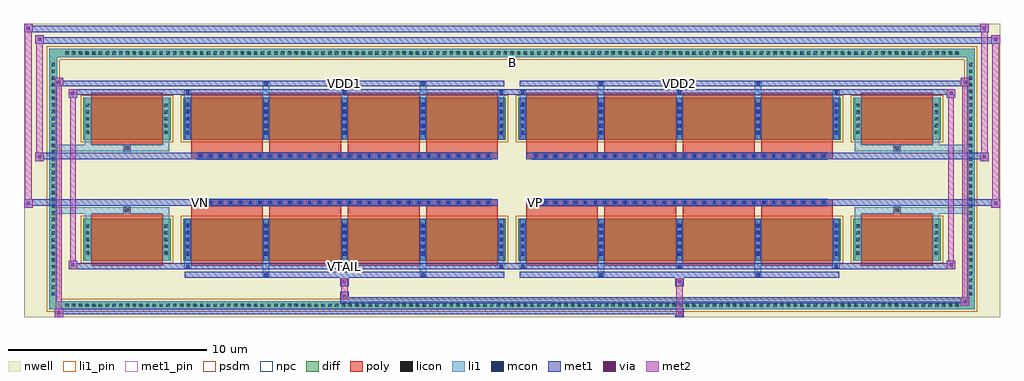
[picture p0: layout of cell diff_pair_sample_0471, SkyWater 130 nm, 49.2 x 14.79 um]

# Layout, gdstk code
import gdstk
lib = gdstk.Library(unit=1e-6, precision=5e-09)
def R(c, l, rs):  # rectangles x0, y0, x1, y1
    for r in rs: c.add(gdstk.rectangle(r[:2], r[2:], *l))
def A(c, l, x, y, w, h, nx, ny, dx, dy):  # array of equal rectangles
    R(c, l, [(x+i*dx, y+j*dy, x+i*dx+w, y+j*dy+h) for i in range(nx) for j in range(ny)])
def P(c, l, *ps):  # polygons
    for p in ps: c.add(gdstk.Polygon(p, *l))
nwell = (64, 20)
diff = (65, 20)
poly = (66, 20)
licon = (66, 44)
li1_pin = (67, 16)
li1 = (67, 20)
mcon = (67, 44)
met1_pin = (68, 16)
met1 = (68, 20)
via = (68, 44)
met2 = (69, 20)
psdm = (94, 20)
npc = (95, 20)

diff_pair_sample_0471 = lib.new_cell('diff_pair_sample_0471')
R(diff_pair_sample_0471, nwell, [(-24.6,-6.96,24.6,7.83), (-21.92,-5.15,-0.01,-0.805), (0.01,-5.15,21.92,-0.805), (-21.92,0.805,-0.01,5.15), (0.01,0.805,21.92,5.15)])
A(diff_pair_sample_0471, diff, -22.645, -6.56, 0.41, 0.41, 133, 2, 0.34, 12.71)
A(diff_pair_sample_0471, diff, -23.33, -5.985, 0.41, 0.41, 1, 35, 0, 0.34)
A(diff_pair_sample_0471, diff, 22.92, -5.985, 0.41, 0.41, 1, 35, 0, 0.34)
R(diff_pair_sample_0471, diff, [(-22.645,-6.56,22.645,-6.15), (-23.33,-5.985,-22.92,5.985), (22.92,-5.985,23.33,5.985), (-21.61,-4.105,-17.21,-1.985), (-16.57,-4.105,-0.32,-1.985), (0.32,-4.105,16.57,-1.985), (17.21,-4.105,21.61,-1.985), (-21.61,1.985,-17.21,4.105), (-16.57,1.985,-0.32,4.105), (0.32,1.985,16.57,4.105), (17.21,1.985,21.61,4.105), (-22.645,6.15,22.645,6.56)])
P(diff_pair_sample_0471, diff, [(23.33,6.56),(-23.33,6.56),(-23.33,-6.15),(-22.92,-6.15),(-22.92,6.15),(22.92,6.15),(22.92,-6.15),(-22.92,-6.15),(-23.33,-6.15),(-23.33,-6.56),(23.33,-6.56)])
A(diff_pair_sample_0471, poly, -16.18, -4.355, 3.62, 2.62, 4, 2, 3.95, 6.09)
A(diff_pair_sample_0471, poly, 0.71, -4.355, 3.62, 2.62, 4, 2, 3.95, 6.09)
A(diff_pair_sample_0471, poly, -16.18, -1.735, 3.62, 0.4, 4, 2, 3.95, 3.07)
A(diff_pair_sample_0471, poly, 0.71, -1.735, 3.62, 0.4, 4, 2, 3.95, 3.07)
A(diff_pair_sample_0471, poly, -15.86, -1.335, 0.33, 0.33, 30, 2, 0.5, 2.34)
A(diff_pair_sample_0471, poly, 1.03, -1.335, 0.33, 0.33, 30, 2, 0.5, 2.34)
R(diff_pair_sample_0471, poly, [(-21.22,-4.355,-17.6,-1.735), (17.6,-4.355,21.22,-1.735), (-19.575,-1.735,-19.245,-1.405), (-19.575,-1.735,-19.245,-1.405), (19.245,-1.735,19.575,-1.405), (19.245,-1.735,19.575,-1.405), (-16.18,-1.335,-0.71,-1.005), (0.71,-1.335,16.18,-1.005), (-16.18,1.005,-0.71,1.335), (0.71,1.005,16.18,1.335), (-19.575,1.405,-19.245,1.735), (-19.575,1.405,-19.245,1.735), (19.245,1.405,19.575,1.735), (19.245,1.405,19.575,1.735), (-21.22,1.735,-17.6,4.355), (17.6,1.735,21.22,4.355)])
A(diff_pair_sample_0471, licon, -22.525, -6.44, 0.17, 0.17, 133, 2, 0.34, 12.71)
A(diff_pair_sample_0471, licon, -23.21, -5.865, 0.17, 0.17, 1, 35, 0, 0.34)
A(diff_pair_sample_0471, licon, 23.04, -5.865, 0.17, 0.17, 1, 35, 0, 0.34)
A(diff_pair_sample_0471, licon, -21.47, -3.81, 0.17, 0.17, 1, 5, 0, 0.34)
A(diff_pair_sample_0471, licon, -17.52, -3.81, 0.17, 0.17, 1, 5, 0, 0.34)
A(diff_pair_sample_0471, licon, -16.43, -3.81, 0.17, 0.17, 5, 5, 3.95, 0.34)
A(diff_pair_sample_0471, licon, 0.46, -3.81, 0.17, 0.17, 5, 5, 3.95, 0.34)
A(diff_pair_sample_0471, licon, 17.35, -3.81, 0.17, 0.17, 1, 5, 0, 0.34)
A(diff_pair_sample_0471, licon, 21.3, -3.81, 0.17, 0.17, 1, 5, 0, 0.34)
A(diff_pair_sample_0471, licon, -15.78, -1.255, 0.17, 0.17, 30, 2, 0.5, 2.34)
A(diff_pair_sample_0471, licon, 1.11, -1.255, 0.17, 0.17, 30, 2, 0.5, 2.34)
A(diff_pair_sample_0471, licon, -21.47, 2.28, 0.17, 0.17, 1, 5, 0, 0.34)
A(diff_pair_sample_0471, licon, -17.52, 2.28, 0.17, 0.17, 1, 5, 0, 0.34)
A(diff_pair_sample_0471, licon, -16.43, 2.28, 0.17, 0.17, 5, 5, 3.95, 0.34)
A(diff_pair_sample_0471, licon, 0.46, 2.28, 0.17, 0.17, 5, 5, 3.95, 0.34)
A(diff_pair_sample_0471, licon, 17.35, 2.28, 0.17, 0.17, 1, 5, 0, 0.34)
A(diff_pair_sample_0471, licon, 21.3, 2.28, 0.17, 0.17, 1, 5, 0, 0.34)
R(diff_pair_sample_0471, licon, [(-19.495,-1.655,-19.325,-1.485), (19.325,-1.655,19.495,-1.485), (-19.495,1.485,-19.325,1.655), (19.325,1.485,19.495,1.655)])
R(diff_pair_sample_0471, li1_pin, [(-0.25,5.65,0.25,6.15)])
A(diff_pair_sample_0471, li1, -22.605, -6.52, 0.33, 0.33, 133, 2, 0.34, 12.71)
A(diff_pair_sample_0471, li1, -23.29, -5.945, 0.33, 0.33, 1, 35, 0, 0.34)
A(diff_pair_sample_0471, li1, 22.96, -5.945, 0.33, 0.33, 1, 35, 0, 0.34)
A(diff_pair_sample_0471, li1, -16.51, -4.48, 0.33, 0.375, 3, 2, 7.9, 8.585)
A(diff_pair_sample_0471, li1, -16.43, -4.48, 0.17, 0.17, 3, 2, 7.9, 8.79)
A(diff_pair_sample_0471, li1, 0.38, -4.48, 0.33, 0.375, 3, 2, 7.9, 8.585)
A(diff_pair_sample_0471, li1, 0.46, -4.48, 0.17, 0.17, 3, 2, 7.9, 8.79)
A(diff_pair_sample_0471, li1, -16.51, -4.105, 0.33, 2.12, 5, 2, 3.95, 6.09)
A(diff_pair_sample_0471, li1, 0.38, -4.105, 0.33, 2.12, 5, 2, 3.95, 6.09)
A(diff_pair_sample_0471, li1, -21.55, -3.89, 0.33, 0.33, 1, 5, 0, 0.34)
A(diff_pair_sample_0471, li1, -17.6, -3.89, 0.33, 0.33, 1, 5, 0, 0.34)
A(diff_pair_sample_0471, li1, -16.51, -3.89, 0.33, 0.33, 5, 5, 3.95, 0.34)
A(diff_pair_sample_0471, li1, 0.38, -3.89, 0.33, 0.33, 5, 5, 3.95, 0.34)
A(diff_pair_sample_0471, li1, 17.27, -3.89, 0.33, 0.33, 1, 5, 0, 0.34)
A(diff_pair_sample_0471, li1, 21.22, -3.89, 0.33, 0.33, 1, 5, 0, 0.34)
A(diff_pair_sample_0471, li1, -16.43, -3.85, 0.17, 0.17, 5, 5, 3.95, 0.36)
A(diff_pair_sample_0471, li1, -16.43, -3.85, 0.17, 1.61, 5, 2, 3.95, 6.09)
A(diff_pair_sample_0471, li1, 0.46, -3.85, 0.17, 0.17, 5, 5, 3.95, 0.36)
A(diff_pair_sample_0471, li1, 0.46, -3.85, 0.17, 1.61, 5, 2, 3.95, 6.09)
A(diff_pair_sample_0471, li1, -15.86, -1.335, 0.33, 0.33, 30, 2, 0.5, 2.34)
A(diff_pair_sample_0471, li1, 1.03, -1.335, 0.33, 0.33, 30, 2, 0.5, 2.34)
A(diff_pair_sample_0471, li1, -21.55, 2.2, 0.33, 0.33, 1, 5, 0, 0.34)
A(diff_pair_sample_0471, li1, -17.6, 2.2, 0.33, 0.33, 1, 5, 0, 0.34)
A(diff_pair_sample_0471, li1, -16.51, 2.2, 0.33, 0.33, 5, 5, 3.95, 0.34)
A(diff_pair_sample_0471, li1, 0.38, 2.2, 0.33, 0.33, 5, 5, 3.95, 0.34)
A(diff_pair_sample_0471, li1, 17.27, 2.2, 0.33, 0.33, 1, 5, 0, 0.34)
A(diff_pair_sample_0471, li1, 21.22, 2.2, 0.33, 0.33, 1, 5, 0, 0.34)
A(diff_pair_sample_0471, li1, -16.43, 2.24, 0.17, 0.17, 5, 5, 3.95, 0.36)
A(diff_pair_sample_0471, li1, 0.46, 2.24, 0.17, 0.17, 5, 5, 3.95, 0.36)
R(diff_pair_sample_0471, li1, [(-23.33,-6.56,-22.92,-6.15), (-23.33,-6.56,-22.92,-6.15), (-22.92,-6.56,22.92,-6.15), (22.92,-6.56,23.33,-6.15), (22.92,-6.56,23.33,-6.15), (-23.33,-6.15,-22.92,6.15), (22.92,-6.15,23.33,6.15), (-12.56,-4.91,-12.23,-4.105), (-12.48,-4.91,-12.31,-4.74), (-4.66,-4.91,-4.33,-4.105), (-4.58,-4.91,-4.41,-4.74), (4.33,-4.91,4.66,-4.105), (4.41,-4.91,4.58,-4.74), (12.23,-4.91,12.56,-4.105), (12.31,-4.91,12.48,-4.74), (-21.55,-4.105,-21.22,-1.985), (-17.6,-4.105,-17.27,-1.985), (17.27,-4.105,17.6,-1.985), (21.22,-4.105,21.55,-1.985), (-21.55,-1.985,-21.22,-1.405), (-17.6,-1.985,-17.27,-1.405), (17.27,-1.985,17.6,-1.405), (21.22,-1.985,21.55,-1.405), (-23.33,-1.735,-19.575,-1.405), (-21.55,-1.735,-19.575,-1.405), (-19.575,-1.735,-19.245,-1.405), (-19.245,-1.735,-17.27,-1.405), (17.27,-1.735,19.245,-1.405), (19.245,-1.735,19.575,-1.405), (19.245,-1.735,23.33,-1.405), (19.575,-1.735,21.55,-1.405), (-23.33,1.405,-19.575,1.735), (-21.55,1.405,-19.575,1.735), (-21.55,1.405,-21.22,1.985), (-19.575,1.405,-19.245,1.735), (-19.245,1.405,-17.27,1.735), (-17.6,1.405,-17.27,1.985), (17.27,1.405,19.245,1.735), (17.27,1.405,17.6,1.985), (19.245,1.405,19.575,1.735), (19.245,1.405,23.33,1.735), (19.575,1.405,21.55,1.735), (21.22,1.405,21.55,1.985), (-21.55,1.985,-21.22,4.105), (-17.6,1.985,-17.27,4.105), (17.27,1.985,17.6,4.105), (21.22,1.985,21.55,4.105), (-12.56,4.105,-12.23,4.91), (-4.66,4.105,-4.33,4.91), (4.33,4.105,4.66,4.91), (12.23,4.105,12.56,4.91), (-12.48,4.74,-12.31,4.91), (-4.58,4.74,-4.41,4.91), (4.41,4.74,4.58,4.91), (12.31,4.74,12.48,4.91), (-23.33,6.15,-22.92,6.56), (-23.33,6.15,-22.92,6.56), (-22.92,6.15,22.92,6.56), (22.92,6.15,23.33,6.56), (22.92,6.15,23.33,6.56)])
A(diff_pair_sample_0471, mcon, -16.43, -4.48, 0.17, 0.17, 3, 2, 7.9, 8.79)
A(diff_pair_sample_0471, mcon, 0.46, -4.48, 0.17, 0.17, 3, 2, 7.9, 8.79)
A(diff_pair_sample_0471, mcon, -16.43, -3.85, 0.17, 0.17, 5, 5, 3.95, 0.36)
A(diff_pair_sample_0471, mcon, 0.46, -3.85, 0.17, 0.17, 5, 5, 3.95, 0.36)
A(diff_pair_sample_0471, mcon, -15.78, -1.255, 0.17, 0.17, 30, 2, 0.5, 2.34)
A(diff_pair_sample_0471, mcon, 1.11, -1.255, 0.17, 0.17, 30, 2, 0.5, 2.34)
A(diff_pair_sample_0471, mcon, -16.43, 2.24, 0.17, 0.17, 5, 5, 3.95, 0.36)
A(diff_pair_sample_0471, mcon, 0.46, 2.24, 0.17, 0.17, 5, 5, 3.95, 0.36)
R(diff_pair_sample_0471, mcon, [(-12.48,-4.91,-12.31,-4.74), (-4.58,-4.91,-4.41,-4.74), (4.41,-4.91,4.58,-4.74), (12.31,-4.91,12.48,-4.74), (-12.48,4.74,-12.31,4.91), (-4.58,4.74,-4.41,4.91), (4.41,4.74,4.58,4.91), (12.31,4.74,12.48,4.91)])
R(diff_pair_sample_0471, met1_pin, [(-8.58,-4.52,-8.31,-4.25), (-15.83,-1.295,-15.56,-1.025), (1.06,-1.295,1.33,-1.025), (-8.58,4.7,-8.31,4.97), (8.31,4.7,8.58,4.97)])
A(diff_pair_sample_0471, met1, -16.49, -4.54, 0.29, 0.29, 3, 2, 7.9, 8.79)
A(diff_pair_sample_0471, met1, 0.4, -4.54, 0.29, 0.29, 3, 2, 7.9, 8.79)
A(diff_pair_sample_0471, met1, -16.49, -4.105, 0.29, 2.12, 5, 2, 3.95, 6.09)
A(diff_pair_sample_0471, met1, 0.4, -4.105, 0.29, 2.12, 5, 2, 3.95, 6.09)
A(diff_pair_sample_0471, met1, -16.49, -3.91, 0.29, 0.29, 5, 5, 3.95, 0.36)
A(diff_pair_sample_0471, met1, 0.4, -3.91, 0.29, 0.29, 5, 5, 3.95, 0.36)
A(diff_pair_sample_0471, met1, -15.84, -1.315, 0.29, 0.29, 30, 2, 0.5, 2.34)
A(diff_pair_sample_0471, met1, 1.05, -1.315, 0.29, 0.29, 30, 2, 0.5, 2.34)
A(diff_pair_sample_0471, met1, -16.49, 2.18, 0.29, 0.29, 5, 5, 3.95, 0.36)
A(diff_pair_sample_0471, met1, 0.4, 2.18, 0.29, 0.29, 5, 5, 3.95, 0.36)
R(diff_pair_sample_0471, met1, [(-23.06,-6.96,-22.63,-6.53), (8.23,-6.96,8.66,-6.53), (-23.06,-6.82,8.66,-6.53), (22.63,-6.39,23.06,-5.96), (-8.66,-6.25,23.06,-5.96), (-8.66,-6.11,-8.23,-5.68), (-8.66,-5.4,-8.23,-4.97), (8.23,-5.4,8.66,-4.97), (-16.49,-4.97,-0.4,-4.68), (-12.54,-4.97,-12.25,-4.68), (-4.64,-4.97,-4.35,-4.68), (0.4,-4.97,16.49,-4.68), (4.35,-4.97,4.64,-4.68), (12.25,-4.97,12.54,-4.68), (-22.35,-4.54,-21.92,-4.11), (-22.35,-4.54,-16.49,-4.25), (-16.49,-4.54,-0.4,-4.25), (-0.4,-4.54,0.4,-4.25), (0.4,-4.54,16.49,-4.25), (16.49,-4.54,22.35,-4.25), (21.92,-4.54,22.35,-4.11), (-24.6,-1.435,-24.17,-1.005), (24.17,-1.435,24.6,-1.005), (-24.6,-1.335,-0.71,-1.005), (-16.18,-1.335,-0.71,-1.005), (0.71,-1.335,16.18,-1.005), (0.71,-1.335,24.6,-1.005), (-24.03,0.905,-23.6,1.335), (23.6,0.905,24.03,1.335), (-24.03,1.005,-16.18,1.335), (-16.18,1.005,-0.71,1.335), (0.71,1.005,16.18,1.335), (16.18,1.005,24.03,1.335), (-22.35,4.11,-21.92,4.54), (21.92,4.11,22.35,4.54), (-22.35,4.25,-16.49,4.54), (-16.49,4.25,-0.4,4.54), (-0.4,4.25,0.4,4.54), (0.4,4.25,16.49,4.54), (16.49,4.25,22.35,4.54), (-23.06,4.68,-22.63,5.11), (-23.06,4.68,-16.49,4.97), (-16.49,4.68,-0.4,4.97), (-12.54,4.68,-12.25,4.97), (-4.64,4.68,-4.35,4.97), (0.4,4.68,16.49,4.97), (4.35,4.68,4.64,4.97), (12.25,4.68,12.54,4.97), (16.49,4.68,23.06,4.97), (22.63,4.68,23.06,5.11), (-24.03,6.83,-23.6,7.26), (-24.03,6.83,-21.92,7.16), (-21.92,6.83,21.92,7.16), (21.92,6.83,24.6,7.16), (24.17,6.83,24.6,7.26), (-24.6,7.4,-24.17,7.83), (-24.6,7.4,-21.92,7.73), (-21.92,7.4,21.92,7.73), (21.92,7.4,24.03,7.73), (23.6,7.4,24.03,7.83)])
R(diff_pair_sample_0471, via, [(-22.92,-6.82,-22.77,-6.67), (8.37,-6.82,8.52,-6.67), (22.77,-6.25,22.92,-6.1), (-8.52,-5.97,-8.37,-5.82), (-8.52,-5.26,-8.37,-5.11), (8.37,-5.26,8.52,-5.11), (-22.21,-4.4,-22.06,-4.25), (22.06,-4.4,22.21,-4.25), (-24.46,-1.295,-24.31,-1.145), (24.31,-1.295,24.46,-1.145), (-23.89,1.045,-23.74,1.195), (23.74,1.045,23.89,1.195), (-22.21,4.25,-22.06,4.4), (22.06,4.25,22.21,4.4), (-22.92,4.82,-22.77,4.97), (22.77,4.82,22.92,4.97), (-23.89,6.97,-23.74,7.12), (24.31,6.97,24.46,7.12), (-24.46,7.54,-24.31,7.69), (23.74,7.54,23.89,7.69)])
R(diff_pair_sample_0471, met2, [(-23.06,-6.96,-22.63,-6.53), (-22.99,-6.96,-22.7,5.11), (-22.7,-6.96,-22.63,-6.53), (-23.01,-6.91,-22.68,-6.58), (8.28,-6.91,8.61,-6.58), (8.28,-6.58,8.61,-5.35), (22.63,-6.39,23.06,-5.96), (22.7,-6.39,22.99,5.11), (22.99,-6.39,23.06,-5.96), (22.68,-6.34,23.01,-6.01), (-8.61,-6.06,-8.28,-5.73), (-8.61,-5.73,-8.28,-5.35), (-8.61,-5.35,-8.28,-5.02), (8.28,-5.35,8.61,-5.02), (-22.35,-4.54,-21.92,-4.11), (-22.28,-4.54,-21.99,4.54), (-21.99,-4.54,-21.92,-4.11), (21.92,-4.54,22.35,-4.11), (21.99,-4.54,22.28,4.54), (22.28,-4.54,22.35,-4.11), (-22.3,-4.49,-21.97,-4.16), (21.97,-4.49,22.3,-4.16), (-24.6,-1.435,-24.17,-1.005), (-24.55,-1.435,-24.22,7.83), (-24.22,-1.435,-24.17,-1.005), (24.17,-1.435,24.6,-1.005), (24.22,-1.435,24.55,7.26), (24.55,-1.435,24.6,-1.005), (-24.55,-1.385,-24.22,-1.055), (24.22,-1.385,24.55,-1.055), (-24.03,0.905,-23.6,1.335), (-23.98,0.905,-23.65,7.26), (-23.65,0.905,-23.6,1.335), (23.6,0.905,24.03,1.335), (23.65,0.905,23.98,7.83), (23.98,0.905,24.03,1.335), (-23.98,0.955,-23.65,1.285), (23.65,0.955,23.98,1.285), (-22.35,4.11,-21.92,4.54), (-21.99,4.11,-21.92,4.54), (21.92,4.11,22.35,4.54), (22.28,4.11,22.35,4.54), (-22.3,4.16,-21.97,4.49), (21.97,4.16,22.3,4.49), (-23.06,4.68,-22.63,5.11), (-22.7,4.68,-22.63,5.11), (22.63,4.68,23.06,5.11), (22.99,4.68,23.06,5.11), (-23.01,4.73,-22.68,5.06), (22.68,4.73,23.01,5.06), (-24.03,6.83,-23.6,7.26), (-23.65,6.83,-23.6,7.26), (24.17,6.83,24.6,7.26), (24.55,6.83,24.6,7.26), (-23.98,6.88,-23.65,7.21), (24.22,6.88,24.55,7.21), (-24.6,7.4,-24.17,7.83), (-24.22,7.4,-24.17,7.83), (23.6,7.4,24.03,7.83), (23.98,7.4,24.03,7.83), (-24.55,7.45,-24.22,7.78), (23.65,7.45,23.98,7.78)])
R(diff_pair_sample_0471, psdm, [(-21.74,-4.235,-17.08,-1.855), (-16.7,-4.235,-0.19,-1.855), (0.19,-4.235,16.7,-1.855), (17.08,-4.235,21.74,-1.855), (-21.74,1.855,-17.08,4.235), (-16.7,1.855,-0.19,4.235), (0.19,1.855,16.7,4.235), (17.08,1.855,21.74,4.235)])
P(diff_pair_sample_0471, psdm, [(23.46,6.69),(-23.46,6.69),(-23.46,-6.02),(-22.79,-6.02),(-22.79,6.02),(22.79,6.02),(22.79,-6.02),(-22.79,-6.02),(-23.46,-6.02),(-23.46,-6.69),(23.46,-6.69)])
A(diff_pair_sample_0471, npc, -15.88, -1.355, 0.37, 0.37, 30, 2, 0.5, 2.34)
A(diff_pair_sample_0471, npc, 1.01, -1.355, 0.37, 0.37, 30, 2, 0.5, 2.34)
R(diff_pair_sample_0471, npc, [(-19.595,-1.755,-19.225,-1.385), (19.225,-1.755,19.595,-1.385), (-15.88,-1.355,-15.01,-0.985), (-15.88,-1.355,-15.01,-0.985), (-15.38,-1.355,-14.51,-0.985), (-15.38,-1.355,-14.51,-0.985), (-14.88,-1.355,-14.01,-0.985), (-14.88,-1.355,-14.01,-0.985), (-14.38,-1.355,-13.51,-0.985), (-14.38,-1.355,-13.51,-0.985), (-13.88,-1.355,-13.01,-0.985), (-13.88,-1.355,-13.01,-0.985), (-13.38,-1.355,-12.51,-0.985), (-13.38,-1.355,-12.51,-0.985), (-12.88,-1.355,-12.01,-0.985), (-12.88,-1.355,-12.01,-0.985), (-12.38,-1.355,-11.51,-0.985), (-12.38,-1.355,-11.51,-0.985), (-11.88,-1.355,-11.01,-0.985), (-11.88,-1.355,-11.01,-0.985), (-11.38,-1.355,-10.51,-0.985), (-11.38,-1.355,-10.51,-0.985), (-10.88,-1.355,-10.01,-0.985), (-10.88,-1.355,-10.01,-0.985), (-10.38,-1.355,-9.51,-0.985), (-10.38,-1.355,-9.51,-0.985), (-9.88,-1.355,-9.01,-0.985), (-9.88,-1.355,-9.01,-0.985), (-9.38,-1.355,-8.51,-0.985), (-9.38,-1.355,-8.51,-0.985), (-8.88,-1.355,-8.01,-0.985), (-8.88,-1.355,-8.01,-0.985), (-8.38,-1.355,-7.51,-0.985), (-8.38,-1.355,-7.51,-0.985), (-7.88,-1.355,-7.01,-0.985), (-7.88,-1.355,-7.01,-0.985), (-7.38,-1.355,-6.51,-0.985), (-7.38,-1.355,-6.51,-0.985), (-6.88,-1.355,-6.01,-0.985), (-6.88,-1.355,-6.01,-0.985), (-6.38,-1.355,-5.51,-0.985), (-6.38,-1.355,-5.51,-0.985), (-5.88,-1.355,-5.01,-0.985), (-5.88,-1.355,-5.01,-0.985), (-5.38,-1.355,-4.51,-0.985), (-5.38,-1.355,-4.51,-0.985), (-4.88,-1.355,-4.01,-0.985), (-4.88,-1.355,-4.01,-0.985), (-4.38,-1.355,-3.51,-0.985), (-4.38,-1.355,-3.51,-0.985), (-3.88,-1.355,-3.01,-0.985), (-3.88,-1.355,-3.01,-0.985), (-3.38,-1.355,-2.51,-0.985), (-3.38,-1.355,-2.51,-0.985), (-2.88,-1.355,-2.01,-0.985), (-2.88,-1.355,-2.01,-0.985), (-2.38,-1.355,-1.51,-0.985), (-2.38,-1.355,-1.51,-0.985), (-1.88,-1.355,-1.01,-0.985), (-1.88,-1.355,-1.01,-0.985), (1.01,-1.355,1.88,-0.985), (1.01,-1.355,1.88,-0.985), (1.51,-1.355,2.38,-0.985), (1.51,-1.355,2.38,-0.985), (2.01,-1.355,2.88,-0.985), (2.01,-1.355,2.88,-0.985), (2.51,-1.355,3.38,-0.985), (2.51,-1.355,3.38,-0.985), (3.01,-1.355,3.88,-0.985), (3.01,-1.355,3.88,-0.985), (3.51,-1.355,4.38,-0.985), (3.51,-1.355,4.38,-0.985), (4.01,-1.355,4.88,-0.985), (4.01,-1.355,4.88,-0.985), (4.51,-1.355,5.38,-0.985), (4.51,-1.355,5.38,-0.985), (5.01,-1.355,5.88,-0.985), (5.01,-1.355,5.88,-0.985), (5.51,-1.355,6.38,-0.985), (5.51,-1.355,6.38,-0.985), (6.01,-1.355,6.88,-0.985), (6.01,-1.355,6.88,-0.985), (6.51,-1.355,7.38,-0.985), (6.51,-1.355,7.38,-0.985), (7.01,-1.355,7.88,-0.985), (7.01,-1.355,7.88,-0.985), (7.51,-1.355,8.38,-0.985), (7.51,-1.355,8.38,-0.985), (8.01,-1.355,8.88,-0.985), (8.01,-1.355,8.88,-0.985), (8.51,-1.355,9.38,-0.985), (8.51,-1.355,9.38,-0.985), (9.01,-1.355,9.88,-0.985), (9.01,-1.355,9.88,-0.985), (9.51,-1.355,10.38,-0.985), (9.51,-1.355,10.38,-0.985), (10.01,-1.355,10.88,-0.985), (10.01,-1.355,10.88,-0.985), (10.51,-1.355,11.38,-0.985), (10.51,-1.355,11.38,-0.985), (11.01,-1.355,11.88,-0.985), (11.01,-1.355,11.88,-0.985), (11.51,-1.355,12.38,-0.985), (11.51,-1.355,12.38,-0.985), (12.01,-1.355,12.88,-0.985), (12.01,-1.355,12.88,-0.985), (12.51,-1.355,13.38,-0.985), (12.51,-1.355,13.38,-0.985), (13.01,-1.355,13.88,-0.985), (13.01,-1.355,13.88,-0.985), (13.51,-1.355,14.38,-0.985), (13.51,-1.355,14.38,-0.985), (14.01,-1.355,14.88,-0.985), (14.01,-1.355,14.88,-0.985), (14.51,-1.355,15.38,-0.985), (14.51,-1.355,15.38,-0.985), (15.01,-1.355,15.88,-0.985), (15.01,-1.355,15.88,-0.985), (-15.88,0.985,-15.01,1.355), (-15.88,0.985,-15.01,1.355), (-15.38,0.985,-14.51,1.355), (-15.38,0.985,-14.51,1.355), (-14.88,0.985,-14.01,1.355), (-14.88,0.985,-14.01,1.355), (-14.38,0.985,-13.51,1.355), (-14.38,0.985,-13.51,1.355), (-13.88,0.985,-13.01,1.355), (-13.88,0.985,-13.01,1.355), (-13.38,0.985,-12.51,1.355), (-13.38,0.985,-12.51,1.355), (-12.88,0.985,-12.01,1.355), (-12.88,0.985,-12.01,1.355), (-12.38,0.985,-11.51,1.355), (-12.38,0.985,-11.51,1.355), (-11.88,0.985,-11.01,1.355), (-11.88,0.985,-11.01,1.355), (-11.38,0.985,-10.51,1.355), (-11.38,0.985,-10.51,1.355), (-10.88,0.985,-10.01,1.355), (-10.88,0.985,-10.01,1.355), (-10.38,0.985,-9.51,1.355), (-10.38,0.985,-9.51,1.355), (-9.88,0.985,-9.01,1.355), (-9.88,0.985,-9.01,1.355), (-9.38,0.985,-8.51,1.355), (-9.38,0.985,-8.51,1.355), (-8.88,0.985,-8.01,1.355), (-8.88,0.985,-8.01,1.355), (-8.38,0.985,-7.51,1.355), (-8.38,0.985,-7.51,1.355), (-7.88,0.985,-7.01,1.355), (-7.88,0.985,-7.01,1.355), (-7.38,0.985,-6.51,1.355), (-7.38,0.985,-6.51,1.355), (-6.88,0.985,-6.01,1.355), (-6.88,0.985,-6.01,1.355), (-6.38,0.985,-5.51,1.355), (-6.38,0.985,-5.51,1.355), (-5.88,0.985,-5.01,1.355), (-5.88,0.985,-5.01,1.355), (-5.38,0.985,-4.51,1.355), (-5.38,0.985,-4.51,1.355), (-4.88,0.985,-4.01,1.355), (-4.88,0.985,-4.01,1.355), (-4.38,0.985,-3.51,1.355), (-4.38,0.985,-3.51,1.355), (-3.88,0.985,-3.01,1.355), (-3.88,0.985,-3.01,1.355), (-3.38,0.985,-2.51,1.355), (-3.38,0.985,-2.51,1.355), (-2.88,0.985,-2.01,1.355), (-2.88,0.985,-2.01,1.355), (-2.38,0.985,-1.51,1.355), (-2.38,0.985,-1.51,1.355), (-1.88,0.985,-1.01,1.355), (-1.88,0.985,-1.01,1.355), (1.01,0.985,1.88,1.355), (1.01,0.985,1.88,1.355), (1.51,0.985,2.38,1.355), (1.51,0.985,2.38,1.355), (2.01,0.985,2.88,1.355), (2.01,0.985,2.88,1.355), (2.51,0.985,3.38,1.355), (2.51,0.985,3.38,1.355), (3.01,0.985,3.88,1.355), (3.01,0.985,3.88,1.355), (3.51,0.985,4.38,1.355), (3.51,0.985,4.38,1.355), (4.01,0.985,4.88,1.355), (4.01,0.985,4.88,1.355), (4.51,0.985,5.38,1.355), (4.51,0.985,5.38,1.355), (5.01,0.985,5.88,1.355), (5.01,0.985,5.88,1.355), (5.51,0.985,6.38,1.355), (5.51,0.985,6.38,1.355), (6.01,0.985,6.88,1.355), (6.01,0.985,6.88,1.355), (6.51,0.985,7.38,1.355), (6.51,0.985,7.38,1.355), (7.01,0.985,7.88,1.355), (7.01,0.985,7.88,1.355), (7.51,0.985,8.38,1.355), (7.51,0.985,8.38,1.355), (8.01,0.985,8.88,1.355), (8.01,0.985,8.88,1.355), (8.51,0.985,9.38,1.355), (8.51,0.985,9.38,1.355), (9.01,0.985,9.88,1.355), (9.01,0.985,9.88,1.355), (9.51,0.985,10.38,1.355), (9.51,0.985,10.38,1.355), (10.01,0.985,10.88,1.355), (10.01,0.985,10.88,1.355), (10.51,0.985,11.38,1.355), (10.51,0.985,11.38,1.355), (11.01,0.985,11.88,1.355), (11.01,0.985,11.88,1.355), (11.51,0.985,12.38,1.355), (11.51,0.985,12.38,1.355), (12.01,0.985,12.88,1.355), (12.01,0.985,12.88,1.355), (12.51,0.985,13.38,1.355), (12.51,0.985,13.38,1.355), (13.01,0.985,13.88,1.355), (13.01,0.985,13.88,1.355), (13.51,0.985,14.38,1.355), (13.51,0.985,14.38,1.355), (14.01,0.985,14.88,1.355), (14.01,0.985,14.88,1.355), (14.51,0.985,15.38,1.355), (14.51,0.985,15.38,1.355), (15.01,0.985,15.88,1.355), (15.01,0.985,15.88,1.355), (-19.595,1.385,-19.225,1.755), (19.225,1.385,19.595,1.755)])
diff_pair_sample_0471.add(gdstk.Label('VTAIL', (-8.445,-4.385), layer=68, texttype=5))
diff_pair_sample_0471.add(gdstk.Label('VN', (-15.695,-1.16), layer=68, texttype=5))
diff_pair_sample_0471.add(gdstk.Label('VP', (1.195,-1.16), layer=68, texttype=5))
diff_pair_sample_0471.add(gdstk.Label('B', (0,5.9), layer=67, texttype=5))
diff_pair_sample_0471.add(gdstk.Label('VDD2', (8.445,4.835), layer=68, texttype=5))
diff_pair_sample_0471.add(gdstk.Label('VDD1', (-8.445,4.835), layer=68, texttype=5))

lib.write_gds('diff_pair_sample_0471.gds')
